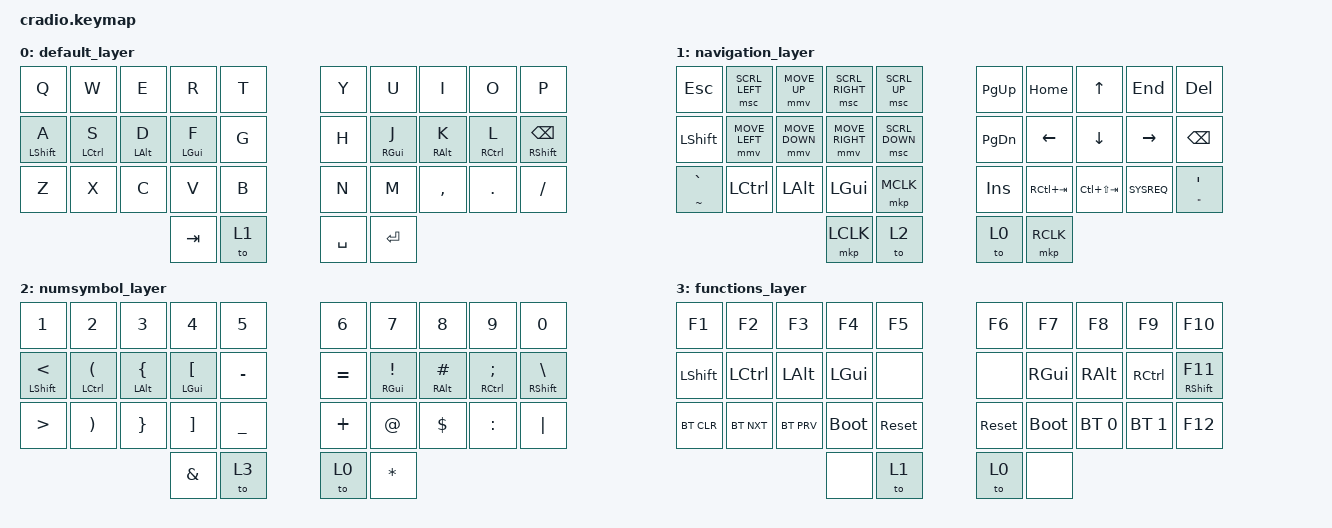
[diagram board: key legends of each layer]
/*
 * Copyright (c) 2020 The ZMK Contributors
 *
 * SPDX-License-Identifier: MIT
 */

#include <behaviors.dtsi>
#include <behaviors/mouse_key_press.dtsi>
#include <behaviors/mouse_move.dtsi>
#include <behaviors/mouse_scroll.dtsi>

#include <dt-bindings/zmk/keys.h>
#include <dt-bindings/zmk/bt.h>
#include <dt-bindings/zmk/mouse.h>
#include "italian.keycodes"

// Layer definitions
    #define BASE 0
    #define NAVIGATION 1
    #define NUMSYMBOL 2
    #define FUNCTIONS 3
// -----------------

&mt {
    flavor = "tap-preferred";
    tapping_term_ms = <200>;
};

&mmv {
   time-to-max-speed-ms = <680>;
   acceleration-exponent=<2>;
};

/ { 

        keymap {
                compatible = "zmk,keymap";
        
        // Base alpha layer
       		default_layer {
		bindings = <
		&kp Q           &kp W       &kp E       &kp R       &kp T 		&kp Y   &kp U       &kp I       &kp O       &kp P 
		&mt LSHIFT A    &mt LCTRL S &mt LALT D  &mt LGUI F  &kp G 		&kp H   &mt RGUI J  &mt RALT K  &mt RCTRL L &mt RSHIFT BACKSPACE
		&kp Z           &kp X       &kp C       &kp V       &kp B       &kp N   &kp M       &kp COMMA   &kp DOT     &kp SLASH
          				
                                                &kp TAB     &to 1       &kp SPACE &kp ENTER
		>;
		};

       		navigation_layer {
		bindings = <
		&kp ESC         &msc SCRL_LEFT      &mmv MOVE_UP    &msc SCRL_RIGHT     &msc SCRL_UP 			&kp PG_UP   &kp HOME    &kp UP           &kp END        &kp DELETE
		&kp LSHIFT      &mmv MOVE_LEFT      &mmv MOVE_DOWN  &mmv MOVE_RIGHT     &msc SCRL_DOWN  		&kp PG_DN   &kp LEFT    &kp DOWN         &kp RIGHT      &kp BACKSPACE 
		&mt TILDE GRAVE &kp  LCTRL          &kp  LALT       &kp  LGUI           &mkp MCLK   			&kp INS     &kp RC(TAB) &kp LC(LS(TAB))  &kp SYSREQ     &mt DOUBLE_QUOTES SINGLE_QUOTE  
							    
                                                            &mkp LCLK           &to 2  					&to 0       &mkp RCLK 
		>;
		};
		
		    numsymbol_layer {
		bindings = <
		&kp NUMBER_1    &kp NUMBER_2    &kp NUMBER_3    &kp NUMBER_4    &kp NUMBER_5    			&kp NUMBER_6    &kp NUMBER_7            &kp NUMBER_8    &kp NUMBER_9            &kp NUMBER_0 
		&mt LSHIFT LT   &mt LCTRL LPAR  &mt LALT LBRC   &mt LGUI LBKT   &kp MINUS 			        &kp EQUAL       &mt RGUI EXCLAMATION    &mt RALT HASH   &mt RCTRL SEMICOLON     &mt RSHIFT BACKSLASH
		&kp GT          &kp RPAR        &kp RBRC        &kp RBKT        &kp UNDERSCORE              &kp PLUS        &kp AT_SIGN             &kp DOLLAR      &kp COLON               &kp PIPE
                        
                                                        &kp AMPERSAND   &to 3                       &to 0           &kp ASTERISK 
		>;
		};	
		
		    functions_layer {
		bindings = <
        &kp F1      &kp F2      &kp F3      &kp F4      &kp F5 			&kp F6      &kp F7      &kp F8        &kp F9        &kp F10
		&kp LSHIFT  &kp LCTRL   &kp LALT    &kp LGUI    &none  		    &none       &kp RGUI    &kp RALT      &kp RCTRL     &mt RSHIFT F11 
		&bt BT_CLR  &bt BT_NXT  &bt BT_PRV  &bootloader &sys_reset   	&sys_reset  &bootloader &bt BT_SEL 0  &bt BT_SEL 1  &kp F12   
					 
                                            &none       &to 1  			&to 0       &none 
		>;
		};	
        
	};
};
